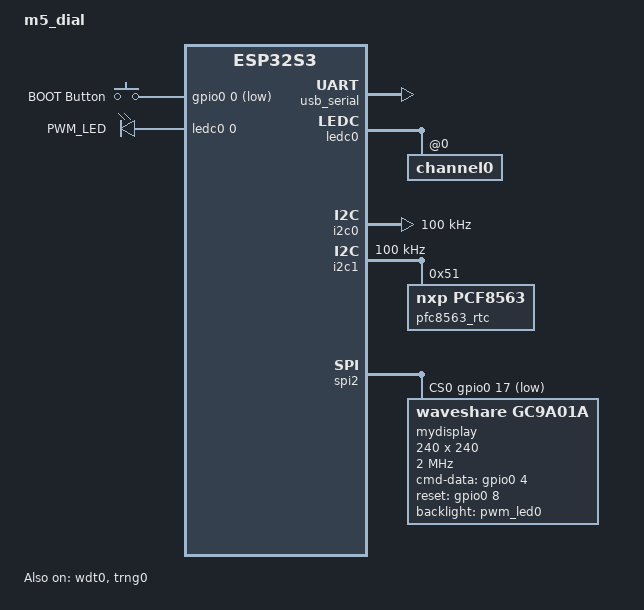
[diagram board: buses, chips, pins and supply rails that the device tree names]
/*
 * Copyright (c) 2022 Espressif Systems (Shanghai) Co., Ltd.
 *
 * SPDX-License-Identifier: Apache-2.0
 */
/dts-v1/;

#include <espressif/esp32s3/esp32s3_fn8.dtsi>
#include "m5_dial-pinctrl.dtsi"
#include <zephyr/dt-bindings/input/input-event-codes.h>
#include <zephyr/dt-bindings/input/esp32-touch-sensor-input.h>
#include <zephyr/dt-bindings/display/gc9a01a.h>
#include <zephyr/dt-bindings/pwm/pwm.h>

/ {
	model = "m5_dial";
	compatible = "espressif,esp32s3";

	aliases {
		i2c-0 = &i2c0;
		watchdog0 = &wdt0;
	};

	chosen {
		zephyr,sram = &sram0;
		zephyr,console = &usb_serial;
		zephyr,shell-uart = &usb_serial;
		zephyr,flash = &flash0;
		zephyr,code-partition = &slot0_partition;
		zephyr,display = &mydisplay;
	};

	aliases {
		uart-0 = &uart0;
		sw0 = &button0;
	};

	buttons {
		compatible = "gpio-keys";
		button0: button_0 {
			gpios = <&gpio0 0 (GPIO_PULL_UP | GPIO_ACTIVE_LOW)>;
			label = "BOOT Button";
			zephyr,code = <INPUT_KEY_0>;
		};
	};

	pwm_leds {
		compatible = "pwm-leds";
		status = "okay";
		pwm_led0: pwm_led_0 {
			pwms = <&ledc0 0 1000 PWM_POLARITY_NORMAL>;
			label = "PWM_LED";
		};
	};
};

&cpu0 {
	clock-frequency = <ESP32_CLK_CPU_240M>;
};

&cpu1 {
	clock-frequency = <ESP32_CLK_CPU_240M>;
};

&usb_serial {
	status = "okay";
};

&gpio0 {
	status = "okay";
};

&gpio1 {
	status = "okay";
};

&ledc0 {
	pinctrl-0 = <&lcd_bl_default>;
	pinctrl-names = "default";
	status = "okay";
	#address-cells = <1>;
	#size-cells = <0>;
	channel0@0 {
		reg = <0x0>;
		timer = <0>;
	};
};

&i2c0 {
	clock-frequency = <I2C_BITRATE_STANDARD>;
	pinctrl-0 = <&grove_A>;
	pinctrl-names = "default";
};

&i2c1 {
	clock-frequency = <I2C_BITRATE_STANDARD>;
	pinctrl-0 = <&i2c_tp>;
	pinctrl-names = "default";

	pfc8563_rtc: pfc8563@51 {
		compatible = "nxp,pcf8563";
		reg = <0x51>;
		status = "okay";
	};
};

&spi2 {
	#address-cells = <1>;
	#size-cells = <0>;
	status = "okay";
	pinctrl-0 = <&spim2_default>;
	pinctrl-names = "default";

	cs-gpios = <&gpio0 17 GPIO_ACTIVE_LOW>;

	mydisplay: mydisplay@0 {
		compatible = "waveshare,gc9a01a";
		spi-max-frequency = <2000000>;
		reg = <0>;
		cmd-data-gpios = <&gpio0 4  GPIO_ACTIVE_HIGH>;
		reset-gpios = <&gpio0 8 GPIO_ACTIVE_HIGH>;
		backlight-gpios = <&pwm_led0>;
		width = <240>;
		height = <240>;
		pixel-format = <GC9A01A_PIXEL_FORMAT_RGB565>;
		display-inversion;
		rotation = <180>;
		status = "okay";
	};
};

&timer0 {
	status = "disabled";
};

&timer1 {
	status = "disabled";
};

&timer2 {
	status = "disabled";
};

&timer3 {
	status = "disabled";
};

&wdt0 {
	status = "okay";
};

&trng0 {
	status = "okay";
};

&flash0 {
	status = "okay";
	partitions {
		compatible = "fixed-partitions";
		#address-cells = <1>;
		#size-cells = <1>;

		/* Reserve 64kB for the bootloader */
		boot_partition: partition@0 {
			label = "mcuboot";
			reg = <0x00000000 0x00010000>;
			read-only;
		};

		/* Reserve 1024kB for the application in slot 0 */
		slot0_partition: partition@10000 {
			label = "image-0";
			reg = <0x00010000 0x00100000>;
		};

		/* Reserve 1024kB for the application in slot 1 */
		slot1_partition: partition@110000 {
			label = "image-1";
			reg = <0x00110000 0x00100000>;
		};

		/* Reserve 256kB for the scratch partition */
		scratch_partition: partition@210000 {
			   label = "image-scratch";
			   reg = <0x00210000 0x00040000>;
		};

		storage_partition: partition@250000 {
			label = "storage";
			reg = <0x00250000 0x00006000>;
		};
	};
};
